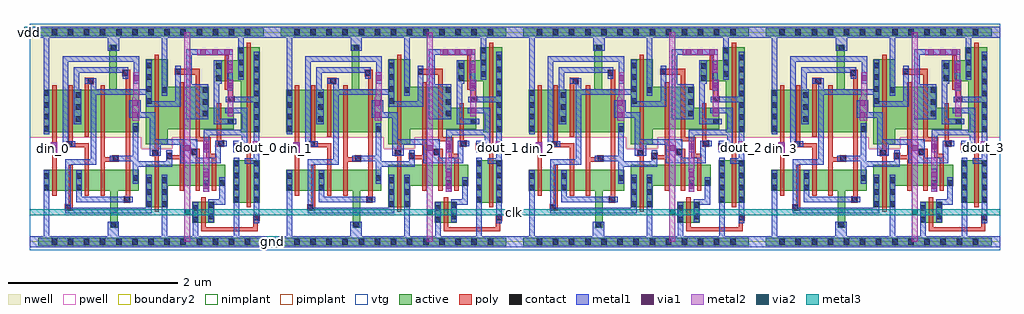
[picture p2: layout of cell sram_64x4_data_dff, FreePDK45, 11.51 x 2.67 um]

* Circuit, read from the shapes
.subckt sram_64x4_data_dff clk din_0 din_1 din_2 din_3 dout_0 dout_1 dout_2 dout_3 gnd vdd
M1 n1 din_0 gnd gnd nfet w=0.25u l=0.05u
M2 n2 n3 n1 gnd nfet w=0.25u l=0.05u
M3 n4 clk n2 gnd nfet w=0.25u l=0.05u
M4 gnd n5 n4 gnd nfet w=0.25u l=0.05u
M5 n5 n2 gnd gnd nfet w=0.25u l=0.05u
M6 gnd clk n3 gnd nfet w=0.5u l=0.05u
M7 n6 n5 gnd gnd nfet w=0.25u l=0.05u
M8 n7 clk n6 gnd nfet w=0.25u l=0.05u
M9 n8 dout_0 gnd gnd nfet w=0.25u l=0.05u
M10 n8 n3 n7 gnd nfet w=0.25u l=0.05u
M11 dout_0 n7 gnd gnd nfet w=0.5u l=0.05u
M12 n9 din_1 gnd gnd nfet w=0.25u l=0.05u
M13 n10 n11 n9 gnd nfet w=0.25u l=0.05u
M14 n12 clk n10 gnd nfet w=0.25u l=0.05u
M15 gnd n13 n12 gnd nfet w=0.25u l=0.05u
M16 n13 n10 gnd gnd nfet w=0.25u l=0.05u
M17 gnd clk n11 gnd nfet w=0.5u l=0.05u
M18 n14 n13 gnd gnd nfet w=0.25u l=0.05u
M19 n15 clk n14 gnd nfet w=0.25u l=0.05u
M20 n16 dout_1 gnd gnd nfet w=0.25u l=0.05u
M21 n16 n11 n15 gnd nfet w=0.25u l=0.05u
M22 dout_1 n15 gnd gnd nfet w=0.5u l=0.05u
M23 n17 din_2 gnd gnd nfet w=0.25u l=0.05u
M24 n18 n19 n17 gnd nfet w=0.25u l=0.05u
M25 n20 clk n18 gnd nfet w=0.25u l=0.05u
M26 gnd n21 n20 gnd nfet w=0.25u l=0.05u
M27 n21 n18 gnd gnd nfet w=0.25u l=0.05u
M28 gnd clk n19 gnd nfet w=0.5u l=0.05u
M29 n22 n21 gnd gnd nfet w=0.25u l=0.05u
M30 n23 clk n22 gnd nfet w=0.25u l=0.05u
M31 n24 dout_2 gnd gnd nfet w=0.25u l=0.05u
M32 n24 n19 n23 gnd nfet w=0.25u l=0.05u
M33 dout_2 n23 gnd gnd nfet w=0.5u l=0.05u
M34 n25 din_3 gnd gnd nfet w=0.25u l=0.05u
M35 n26 n27 n25 gnd nfet w=0.25u l=0.05u
M36 n28 clk n26 gnd nfet w=0.25u l=0.05u
M37 gnd n29 n28 gnd nfet w=0.25u l=0.05u
M38 n29 n26 gnd gnd nfet w=0.25u l=0.05u
M39 gnd clk n27 gnd nfet w=0.5u l=0.05u
M40 n30 n29 gnd gnd nfet w=0.25u l=0.05u
M41 n31 clk n30 gnd nfet w=0.25u l=0.05u
M42 n32 dout_3 gnd gnd nfet w=0.25u l=0.05u
M43 n32 n27 n31 gnd nfet w=0.25u l=0.05u
M44 dout_3 n31 gnd gnd nfet w=0.5u l=0.05u
M45 n33 din_0 vdd vdd pfet w=0.5u l=0.05u
M46 n2 clk n33 vdd pfet w=0.5u l=0.05u
M47 n34 n3 n2 vdd pfet w=0.5u l=0.05u
M48 vdd n5 n34 vdd pfet w=0.5u l=0.05u
M49 n5 n2 vdd vdd pfet w=0.5u l=0.05u
M50 vdd clk n3 vdd pfet w=1u l=0.05u
M51 n35 n5 vdd vdd pfet w=0.5u l=0.05u
M52 n7 n3 n35 vdd pfet w=0.5u l=0.05u
M53 n36 clk n7 vdd pfet w=0.25u l=0.05u
M54 vdd dout_0 n36 vdd pfet w=0.25u l=0.05u
M55 dout_0 n7 vdd vdd pfet w=1u l=0.05u
M56 n37 din_1 vdd vdd pfet w=0.5u l=0.05u
M57 n10 clk n37 vdd pfet w=0.5u l=0.05u
M58 n38 n11 n10 vdd pfet w=0.5u l=0.05u
M59 vdd n13 n38 vdd pfet w=0.5u l=0.05u
M60 n13 n10 vdd vdd pfet w=0.5u l=0.05u
M61 vdd clk n11 vdd pfet w=1u l=0.05u
M62 n39 n13 vdd vdd pfet w=0.5u l=0.05u
M63 n15 n11 n39 vdd pfet w=0.5u l=0.05u
M64 n40 clk n15 vdd pfet w=0.25u l=0.05u
M65 vdd dout_1 n40 vdd pfet w=0.25u l=0.05u
M66 dout_1 n15 vdd vdd pfet w=1u l=0.05u
M67 n41 din_2 vdd vdd pfet w=0.5u l=0.05u
M68 n18 clk n41 vdd pfet w=0.5u l=0.05u
M69 n42 n19 n18 vdd pfet w=0.5u l=0.05u
M70 vdd n21 n42 vdd pfet w=0.5u l=0.05u
M71 n21 n18 vdd vdd pfet w=0.5u l=0.05u
M72 vdd clk n19 vdd pfet w=1u l=0.05u
M73 n43 n21 vdd vdd pfet w=0.5u l=0.05u
M74 n23 n19 n43 vdd pfet w=0.5u l=0.05u
M75 n44 clk n23 vdd pfet w=0.25u l=0.05u
M76 vdd dout_2 n44 vdd pfet w=0.25u l=0.05u
M77 dout_2 n23 vdd vdd pfet w=1u l=0.05u
M78 n45 din_3 vdd vdd pfet w=0.5u l=0.05u
M79 n26 clk n45 vdd pfet w=0.5u l=0.05u
M80 n46 n27 n26 vdd pfet w=0.5u l=0.05u
M81 vdd n29 n46 vdd pfet w=0.5u l=0.05u
M82 n29 n26 vdd vdd pfet w=0.5u l=0.05u
M83 vdd clk n27 vdd pfet w=1u l=0.05u
M84 n47 n29 vdd vdd pfet w=0.5u l=0.05u
M85 n31 n27 n47 vdd pfet w=0.5u l=0.05u
M86 n48 clk n31 vdd pfet w=0.25u l=0.05u
M87 vdd dout_3 n48 vdd pfet w=0.25u l=0.05u
M88 dout_3 n31 vdd vdd pfet w=1u l=0.05u
.ends

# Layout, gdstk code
import gdstk
lib = gdstk.Library(unit=1e-6, precision=5e-10)
def R(c, l, rs):  # rectangles x0, y0, x1, y1
    for r in rs: c.add(gdstk.rectangle(r[:2], r[2:], *l))
def A(c, l, x, y, w, h, nx, ny, dx, dy):  # array of equal rectangles
    R(c, l, [(x+i*dx, y+j*dy, x+i*dx+w, y+j*dy+h) for i in range(nx) for j in range(ny)])
def P(c, l, *ps):  # polygons
    for p in ps: c.add(gdstk.Polygon(p, *l))
active = (1, 0)
pwell = (2, 0)
nwell = (3, 0)
nimplant = (4, 0)
pimplant = (5, 0)
vtg = (6, 0)
poly = (9, 0)
contact = (10, 0)
metal1 = (11, 0)
via1 = (12, 0)
metal2 = (13, 0)
via2 = (14, 0)
metal3 = (15, 0)
boundary2 = (239, 0)

dff = lib.new_cell('dff')
A(dff, active, 0.2675, 0.6, 0.05, 0.25, 4, 1, 0.19, 0)
A(dff, active, 0.3175, 0.6, 0.14, 0.25, 3, 1, 0.19, 0)
A(dff, active, 1.7675, 0.6575, 0.05, 0.25, 3, 1, 0.19, 0)
A(dff, active, 0.2675, 1.2925, 0.05, 0.5, 4, 1, 0.19, 0)
A(dff, active, 0.3175, 1.2925, 0.14, 0.5, 3, 1, 0.19, 0)
R(dff, active, [(0.1,-0.045,2.76,0.045), (1.9175,0.2225,2.0225,0.4725), (2.0225,0.2225,2.0725,0.4725), (2.0725,0.2225,2.1775,0.4725), (1.3675,0.4075,1.4725,0.9075), (1.4725,0.4075,1.5225,0.9075), (2.4025,0.4625,2.5575,0.9625), (2.5575,0.4625,2.6075,0.9625), (2.6075,0.4625,2.7125,0.9625), (0.1625,0.6,0.2675,0.85), (1.1325,0.6,1.1825,0.85), (1.1825,0.6,1.2875,0.85), (1.8175,0.6575,1.9575,0.9075), (2.0075,0.6575,2.1475,0.9075), (2.1975,0.6575,2.3075,0.9075), (1.3675,1.15,1.4725,2.15), (1.4725,1.15,1.5225,2.15), (0.1625,1.2925,0.2675,1.7925), (1.1325,1.2925,1.1825,1.7925), (1.1825,1.2925,1.2875,1.7925), (2.5575,1.2925,2.6075,2.2925), (2.6075,1.2925,2.7125,2.2925), (1.7675,1.3275,1.8175,1.8275), (1.8175,1.3275,1.9575,1.8275), (1.9575,1.3275,2.0075,1.8275), (2.2075,1.3275,2.2575,1.5775), (2.2575,1.3275,2.4075,1.5775), (2.1925,1.8925,2.2975,2.1425), (2.2975,1.8925,2.3475,2.1425), (0.1,2.425,2.76,2.515)])
P(dff, active, [(0.8875,1.2925),(0.8875,1.7925),(0.9375,1.7925),(0.9375,2.3225),(1.0275,2.3225),(1.0275,1.7925),(1.1325,1.7925),(1.1325,1.2925)],
  [(1.5225,1.15),(1.5225,2.15),(1.6275,2.15),(1.6275,1.8275),(1.7675,1.8275),(1.7675,1.3275),(1.6275,1.3275),(1.6275,1.15)],
  [(2.0075,1.3275),(2.0075,1.8275),(2.1125,1.8275),(2.1125,1.5775),(2.2075,1.5775),(2.2075,1.3275)],
  [(2.4875,1.2925),(2.4875,1.8925),(2.3475,1.8925),(2.3475,2.1425),(2.4525,2.1425),(2.4525,2.2925),(2.5575,2.2925),(2.5575,1.2925)],
  [(0.9475,0.165),(0.9475,0.6),(0.8875,0.6),(0.8875,0.85),(1.1325,0.85),(1.1325,0.6),(1.0375,0.6),(1.0375,0.165)],
  [(1.5225,0.4075),(1.5225,0.9075),(1.7675,0.9075),(1.7675,0.6575),(1.6275,0.6575),(1.6275,0.4075)])
P(dff, pwell, [(0,-0.1),(0,1.235),(1.3125,1.235),(1.3125,1.095),(1.6825,1.095),(1.6825,1.235),(2.86,1.235),(2.86,-0.1)])
P(dff, nwell, [(1.3125,1.095),(1.3125,1.235),(0,1.235),(0,2.57),(2.86,2.57),(2.86,1.235),(1.6825,1.235),(1.6825,1.095)])
A(dff, nimplant, 0.2675, 0.6, 0.05, 0.25, 4, 1, 0.19, 0)
A(dff, nimplant, 0.3175, 0.6, 0.14, 0.25, 3, 1, 0.19, 0)
A(dff, nimplant, 1.7675, 0.6575, 0.05, 0.25, 3, 1, 0.19, 0)
R(dff, nimplant, [(1.9175,0.2225,2.0225,0.4725), (2.0225,0.2225,2.0725,0.4725), (2.0725,0.2225,2.1775,0.4725), (1.3675,0.4075,1.4725,0.9075), (1.4725,0.4075,1.5225,0.9075), (2.4025,0.4625,2.5575,0.9625), (2.5575,0.4625,2.6075,0.9625), (2.6075,0.4625,2.7125,0.9625), (0.1625,0.6,0.2675,0.85), (1.1325,0.6,1.1825,0.85), (1.1825,0.6,1.2875,0.85), (1.8175,0.6575,1.9575,0.9075), (2.0075,0.6575,2.1475,0.9075), (2.1975,0.6575,2.3075,0.9075), (0.1,2.425,2.76,2.515)])
P(dff, nimplant, [(0.9475,0.165),(0.9475,0.6),(0.8875,0.6),(0.8875,0.85),(1.1325,0.85),(1.1325,0.6),(1.0375,0.6),(1.0375,0.165)],
  [(1.5225,0.4075),(1.5225,0.9075),(1.7675,0.9075),(1.7675,0.6575),(1.6275,0.6575),(1.6275,0.4075)])
A(dff, pimplant, 0.2675, 1.2925, 0.05, 0.5, 4, 1, 0.19, 0)
A(dff, pimplant, 0.3175, 1.2925, 0.14, 0.5, 3, 1, 0.19, 0)
R(dff, pimplant, [(0.1,-0.045,2.76,0.045), (1.3675,1.15,1.4725,2.15), (1.4725,1.15,1.5225,2.15), (0.1625,1.2925,0.2675,1.7925), (1.1325,1.2925,1.1825,1.7925), (1.1825,1.2925,1.2875,1.7925), (2.5575,1.2925,2.6075,2.2925), (2.6075,1.2925,2.7125,2.2925), (1.7675,1.3275,1.8175,1.8275), (1.8175,1.3275,1.9575,1.8275), (1.9575,1.3275,2.0075,1.8275), (2.2075,1.3275,2.2575,1.5775), (2.2575,1.3275,2.4075,1.5775), (2.1925,1.8925,2.2975,2.1425), (2.2975,1.8925,2.3475,2.1425)])
P(dff, pimplant, [(0.8875,1.2925),(0.8875,1.7925),(0.9375,1.7925),(0.9375,2.3225),(1.0275,2.3225),(1.0275,1.7925),(1.1325,1.7925),(1.1325,1.2925)],
  [(1.5225,1.15),(1.5225,2.15),(1.6275,2.15),(1.6275,1.8275),(1.7675,1.8275),(1.7675,1.3275),(1.6275,1.3275),(1.6275,1.15)],
  [(2.0075,1.3275),(2.0075,1.8275),(2.1125,1.8275),(2.1125,1.5775),(2.2075,1.5775),(2.2075,1.3275)],
  [(2.4875,1.2925),(2.4875,1.8925),(2.3475,1.8925),(2.3475,2.1425),(2.4525,2.1425),(2.4525,2.2925),(2.5575,2.2925),(2.5575,1.2925)])
R(dff, vtg, [(0,-0.1,2.86,2.57)])
A(dff, poly, 0.2675, 0.6, 0.05, 0.25, 4, 1, 0.19, 0)
A(dff, poly, 1.7675, 0.6025, 0.05, 0.055, 3, 1, 0.19, 0)
A(dff, poly, 1.7675, 0.6575, 0.05, 0.25, 3, 1, 0.19, 0)
A(dff, poly, 0.2675, 1.2925, 0.05, 0.5, 4, 1, 0.19, 0)
R(dff, poly, [(2.0225,0.2225,2.0725,0.4725), (1.4725,0.3525,1.5225,0.4075), (1.4725,0.4075,1.5225,0.9075), (2.5575,0.4075,2.6075,0.4625), (2.5575,0.4625,2.6075,0.9625), (2.0225,0.4725,2.0725,0.5275), (0.2675,0.545,0.3175,0.6), (0.6475,0.545,0.6975,0.6), (0.8375,0.545,0.8875,0.6), (1.1325,0.6,1.1825,0.85), (0.4575,0.85,0.5075,0.905), (1.1325,0.85,1.1825,1.2925), (1.4725,1.15,1.5225,2.15), (0.6475,1.2375,0.6975,1.2925), (1.1325,1.2925,1.1825,1.7925), (2.5575,1.2925,2.6075,2.2925), (1.7675,1.3275,1.8175,1.8275), (1.9575,1.3275,2.0075,1.8275), (2.2075,1.3275,2.2575,1.5775), (2.2075,1.5775,2.2575,1.6325), (0.2675,1.7925,0.3175,1.8475), (0.4575,1.7925,0.5075,1.8475), (0.8375,1.7925,0.8875,1.8475), (1.7675,1.8275,1.8175,1.8825), (2.2975,1.8925,2.3475,2.1425), (2.2975,2.1425,2.3475,2.1975), (1.4725,2.15,1.5225,2.205), (2.5575,2.2925,2.6075,2.3475)])
P(dff, poly, [(0.2675,0.85),(0.2675,1.0675),(0.2425,1.0675),(0.2425,1.1425),(0.2675,1.1425),(0.2675,1.2925),(0.3175,1.2925),(0.3175,0.85)],
  [(0.4125,0.365),(0.4125,0.44),(0.4575,0.44),(0.4575,0.6),(0.5075,0.6),(0.5075,0.365)],
  [(0.6475,1.7925),(0.6475,1.9325),(0.7525,1.9325),(0.7525,1.8575),(0.6975,1.8575),(0.6975,1.7925)],
  [(0.6475,0.85),(0.6475,1.1125),(0.4325,1.1125),(0.4325,1.1875),(0.4575,1.1875),(0.4575,1.2925),(0.5075,1.2925),(0.5075,1.1625),(0.6975,1.1625),(0.6975,0.85)],
  [(0.8375,0.85),(0.8375,1.2925),(0.8875,1.2925),(0.8875,0.995),(0.9725,0.995),(0.9725,1.02),(1.0475,1.02),(1.0475,0.945),(0.8875,0.945),(0.8875,0.85)],
  [(1.1325,1.7925),(1.1325,1.9525),(1.0925,1.9525),(1.0925,2.0275),(1.1825,2.0275),(1.1825,1.7925)],
  [(1.1075,0.46),(1.1075,0.535),(1.1325,0.535),(1.1325,0.6),(1.1825,0.6),(1.1825,0.46)],
  [(1.4725,0.9075),(1.4725,1.01),(1.4425,1.01),(1.4425,1.085),(1.4725,1.085),(1.4725,1.15),(1.5225,1.15),(1.5225,0.9075)],
  [(1.7675,0.9075),(1.7675,0.9725),(1.6075,0.9725),(1.6075,1.0475),(1.6825,1.0475),(1.6825,1.0225),(1.7675,1.0225),(1.7675,1.3275),(1.8175,1.3275),(1.8175,0.9075)],
  [(1.9575,1.8275),(1.9575,1.9675),(1.7125,1.9675),(1.7125,2.0425),(2.0075,2.0425),(2.0075,1.8275)],
  [(1.9575,0.9075),(1.9575,1.0225),(1.9025,1.0225),(1.9025,1.0975),(2.0075,1.0975),(2.0075,0.9075)],
  [(2.3425,1.6425),(2.3425,1.7925),(2.2975,1.7925),(2.2975,1.8925),(2.3475,1.8925),(2.3475,1.8425),(2.3925,1.8425),(2.3925,1.7175),(2.4175,1.7175),(2.4175,1.6425)],
  [(2.2075,1.1225),(2.2075,1.3275),(2.2575,1.3275),(2.2575,1.1975),(2.2925,1.1975),(2.2925,1.1225)],
  [(2.0225,0.1225),(2.0225,0.2225),(2.0725,0.2225),(2.0725,0.1725),(2.6375,0.1725),(2.6375,0.3225),(2.7125,0.3225),(2.7125,0.2475),(2.6875,0.2475),(2.6875,0.1225)],
  [(2.1475,0.9075),(2.1475,0.9875),(2.0825,0.9875),(2.0825,1.1825),(1.9575,1.1825),(1.9575,1.3275),(2.0075,1.3275),(2.0075,1.2325),(2.1325,1.2325),(2.1325,1.0375),(2.1975,1.0375),(2.1975,0.9075)],
  [(2.5575,0.9625),(2.5575,1.0875),(2.3975,1.0875),(2.3975,1.1625),(2.4725,1.1625),(2.4725,1.1375),(2.5575,1.1375),(2.5575,1.2925),(2.6075,1.2925),(2.6075,0.9625)])
A(dff, contact, 0.2575, -0.0325, 0.065, 0.065, 13, 2, 0.19, 2.47)
A(dff, contact, 1.3725, 0.4125, 0.065, 0.065, 1, 3, 0, 0.14)
A(dff, contact, 1.5575, 0.4125, 0.065, 0.065, 1, 3, 0, 0.14)
A(dff, contact, 2.4075, 0.4675, 0.065, 0.065, 1, 4, 0, 0.14)
A(dff, contact, 2.6425, 0.4675, 0.065, 0.065, 1, 4, 0, 0.14)
A(dff, contact, 2.6425, 1.2975, 0.065, 0.065, 1, 7, 0, 0.14)
A(dff, contact, 0.1675, 1.3025, 0.065, 0.065, 1, 4, 0, 0.14)
A(dff, contact, 0.5425, 1.4175, 0.065, 0.065, 1, 3, 0, 0.14)
A(dff, contact, 2.0425, 1.4775, 0.065, 0.065, 1, 3, 0, 0.14)
A(dff, contact, 1.3725, 1.6275, 0.065, 0.065, 1, 4, 0, 0.14)
A(dff, contact, 2.4575, 1.9425, 0.065, 0.065, 1, 3, 0, 0.14)
R(dff, contact, [(0.9525,0.17,1.0175,0.235), (1.9225,0.2275,1.9875,0.2925), (2.6425,0.2525,2.7075,0.3175), (2.1075,0.2625,2.1725,0.3275), (1.9225,0.3675,1.9875,0.4325), (0.4175,0.37,0.4825,0.435), (2.1075,0.4025,2.1725,0.4675), (1.1125,0.465,1.1775,0.53), (0.1675,0.605,0.2325,0.67), (0.5475,0.605,0.6125,0.67), (2.0475,0.6625,2.1125,0.7275), (2.2375,0.6625,2.3025,0.7275), (1.2175,0.72,1.2825,0.785), (0.1675,0.745,0.2325,0.81), (0.5475,0.745,0.6125,0.81), (0.9775,0.95,1.0425,1.015), (1.6125,0.9775,1.6775,1.0425), (1.4475,1.015,1.5125,1.08), (1.9075,1.0275,1.9725,1.0925), (0.2475,1.0725,0.3125,1.1375), (2.4025,1.0925,2.4675,1.1575), (0.4375,1.1175,0.5025,1.1825), (2.2225,1.1275,2.2875,1.1925), (1.2175,1.2975,1.2825,1.3625), (2.3375,1.3875,2.4025,1.4525), (2.3475,1.6475,2.4125,1.7125), (1.5575,1.7575,1.6225,1.8225), (0.6825,1.8625,0.7475,1.9275), (2.1975,1.8975,2.2625,1.9625), (1.0975,1.9575,1.1625,2.0225), (1.7175,1.9725,1.7825,2.0375), (2.1975,2.0375,2.2625,2.1025), (0.9575,2.2525,1.0225,2.3175)])
R(dff, metal1, [(0,-0.065,2.86,0.065), (0,-0.065,2.86,0.065), (2.0475,0.5875,2.1125,0.8625), (2.6425,0.915,2.7075,1.1275), (1.7775,0.9275,1.9725,1.2075), (0.245,1.0375,0.3225,1.1725), (2.6325,1.0475,2.71,1.1825), (2.3275,1.7775,2.3925,2.1275), (0,2.405,2.76,2.535), (0,2.405,2.76,2.535)])
P(dff, metal1, [(0.1675,1.2675),(0.1675,2.405),(0.1,2.405),(0.1,2.535),(2.86,2.535),(2.86,2.405),(2.5225,2.405),(2.5225,1.9075),(2.4575,1.9075),(2.4575,2.405),(1.6225,2.405),(1.6225,1.7225),(1.5575,1.7225),(1.5575,2.405),(1.0575,2.405),(1.0575,2.2525),(0.9225,2.2525),(0.9225,2.405),(0.2325,2.405),(0.2325,1.2675)],
  [(0.1,-0.065),(0.1,0.065),(0.1675,0.065),(0.1675,0.845),(0.2325,0.845),(0.2325,0.065),(0.9175,0.065),(0.9175,0.235),(1.0525,0.235),(1.0525,0.065),(1.5575,0.065),(1.5575,0.7925),(1.6225,0.7925),(1.6225,0.065),(1.9225,0.065),(1.9225,0.4675),(1.9875,0.4675),(1.9875,0.065),(2.4075,0.065),(2.4075,0.9875),(2.4725,0.9875),(2.4725,0.065),(2.76,0.065),(2.76,-0.065)],
  [(0.4175,0.335),(0.4175,0.975),(0.7175,0.975),(0.7175,1.8625),(0.6475,1.8625),(0.6475,1.9275),(0.7825,1.9275),(0.7825,1.7975),(1.3725,1.7975),(1.3725,2.1475),(1.4375,2.1475),(1.4375,1.6575),(1.7175,1.6575),(1.7175,2.0725),(1.7825,2.0725),(1.7825,1.5925),(1.3725,1.5925),(1.3725,1.7325),(0.7825,1.7325),(0.7825,0.91),(0.4825,0.91),(0.4825,0.4),(1.3725,0.4),(1.3725,0.7925),(1.4375,0.7925),(1.4375,0.335)],
  [(1.7775,0.9275),(1.7775,1.1425),(1.5475,1.1425),(1.5475,1.015),(1.4125,1.015),(1.4125,1.4625),(1.1725,1.4625),(1.1725,1.6675),(1.3075,1.6675),(1.3075,1.5275),(1.4775,1.5275),(1.4775,1.2075),(1.9725,1.2075),(1.9725,0.9925),(2.1875,0.9925),(2.1875,1.1925),(2.3225,1.1925),(2.3225,1.1275),(2.2525,1.1275),(2.2525,0.9275)],
  [(0.3875,1.1175),(0.3875,2.1875),(1.2925,2.1875),(1.2925,1.8625),(1.2275,1.8625),(1.2275,2.1225),(0.4525,2.1225),(0.4525,1.1825),(0.5375,1.1825),(0.5375,1.1175)],
  [(0.5175,1.3825),(0.5175,2.0575),(1.1625,2.0575),(1.1625,1.9225),(1.0975,1.9225),(1.0975,1.9925),(0.5825,1.9925),(0.5825,1.7975),(0.6075,1.7975),(0.6075,1.3825)],
  [(0.5475,0.465),(0.5475,0.845),(0.6125,0.845),(0.6125,0.53),(1.2125,0.53),(1.2125,0.465)],
  [(1.2175,0.685),(1.2175,0.95),(0.9425,0.95),(0.9425,1.015),(1.2175,1.015),(1.2175,1.3975),(1.2825,1.3975),(1.2825,0.95),(1.6125,0.95),(1.6125,1.0775),(1.6775,1.0775),(1.6775,0.885),(1.2825,0.885),(1.2825,0.685)],
  [(1.8475,1.4425),(1.8475,2.2675),(2.3925,2.2675),(2.3925,2.2025),(1.9125,2.2025),(1.9125,1.8575),(2.1075,1.8575),(2.1075,1.4425)],
  [(2.0525,1.0575),(2.0525,1.3225),(2.5025,1.3225),(2.5025,1.5175),(2.3025,1.5175),(2.3025,1.5825),(2.5675,1.5825),(2.5675,1.0575),(2.4025,1.0575),(2.4025,1.1925),(2.5025,1.1925),(2.5025,1.2575),(2.1175,1.2575),(2.1175,1.0575)],
  [(2.1725,1.3875),(2.1725,2.1375),(2.2625,2.1375),(2.2625,1.8625),(2.2375,1.8625),(2.2375,1.4525),(2.4375,1.4525),(2.4375,1.3875)],
  [(2.6425,0.2175),(2.6425,0.9175),(2.5375,0.9175),(2.5375,0.9825),(2.6425,0.9825),(2.6425,1.6475),(2.3125,1.6475),(2.3125,1.7125),(2.6425,1.7125),(2.6425,2.2375),(2.7075,2.2375),(2.7075,0.2175)],
  [(2.1075,0.2275),(2.1075,0.5025),(2.2375,0.5025),(2.2375,0.7625),(2.3025,0.7625),(2.3025,0.4375),(2.1725,0.4375),(2.1725,0.2275)])
A(dff, via1, 2.0125, 2.2025, 0.065, 0.065, 3, 1, 0.14, 0)
R(dff, via1, [(2.0475,0.6225,2.1125,0.6875), (2.0475,0.7625,2.1125,0.8275), (0.2475,1.0725,0.3125,1.1375), (1.825,1.0725,1.89,1.1375), (2.64,1.0825,2.705,1.1475), (2.0525,1.0925,2.1175,1.1575), (1.2075,1.4625,1.2725,1.5275), (2.3375,1.5175,2.4025,1.5825), (1.2075,1.6025,1.2725,1.6675), (2.3275,1.8125,2.3925,1.8775), (1.2275,1.8975,1.2925,1.9625), (2.3275,2.0275,2.3925,2.0925)])
R(dff, metal2, [(2.0475,0.5875,2.1175,1.1925), (0.245,1.0375,0.3225,1.1725), (0.245,1.0375,0.3225,1.1725), (1.82,1.0375,1.8975,1.1725), (1.82,1.0375,1.8975,1.1725), (2.6325,1.0475,2.71,1.1825), (2.6325,1.0475,2.71,1.1825)])
P(dff, metal2, [(1.2075,1.4275),(1.2075,1.7025),(1.2225,1.7025),(1.2225,1.9975),(1.2925,1.9975),(1.2925,1.4275)],
  [(2.3225,1.9925),(2.3225,2.1975),(1.9775,2.1975),(1.9775,2.2675),(2.3925,2.2675),(2.3925,1.9925)],
  [(2.3325,1.4825),(2.3325,1.7775),(2.3275,1.7775),(2.3275,1.9125),(2.4025,1.9125),(2.4025,1.4825)])
R(dff, boundary2, [(0,0,2.86,2.47)])
dff.add(gdstk.Label('clk', (1.865,1.15), layer=13, texttype=0))
dff.add(gdstk.Label('D', (0.295,1.15), layer=13, texttype=0))
dff.add(gdstk.Label('Q', (2.685,1.1), layer=13, texttype=0))
dff.add(gdstk.Label('gnd', (1.645,0.0425), layer=11, texttype=0))
dff.add(gdstk.Label('vdd', (2.035,2.5325), layer=11, texttype=0))
dff.add(gdstk.Label('D', (0.284,1.105), layer=13, texttype=0))
dff.add(gdstk.Label('Q', (2.671,1.115), layer=13, texttype=0))
dff.add(gdstk.Label('clk', (1.859,1.105), layer=13, texttype=0))
dff.add(gdstk.Label('vdd', (1.38,2.47), layer=11, texttype=0))
dff.add(gdstk.Label('gnd', (1.43,0), layer=11, texttype=0))

sram_64x4_contact_17 = lib.new_cell('sram_64x4_contact_17')
R(sram_64x4_contact_17, metal1, [(0,0.035,0.135,0.1)])
R(sram_64x4_contact_17, via1, [(0.035,0.035,0.1,0.1)])
R(sram_64x4_contact_17, metal2, [(0.0325,0,0.1025,0.135)])
R(sram_64x4_contact_17, boundary2, [(0,0,0.135,0.135)])

sram_64x4_contact_18 = lib.new_cell('sram_64x4_contact_18')
R(sram_64x4_contact_18, metal2, [(0.0325,0,0.1025,0.135)])
R(sram_64x4_contact_18, via2, [(0.035,0.035,0.1,0.1)])
R(sram_64x4_contact_18, metal3, [(0,0.0325,0.135,0.1025)])
R(sram_64x4_contact_18, boundary2, [(0,0,0.135,0.135)])

sram_64x4_data_dff = lib.new_cell('sram_64x4_data_dff')
A(sram_64x4_data_dff, metal2, 1.82, 0, 0.07, 2.47, 4, 1, 2.86, 0)
A(sram_64x4_data_dff, metal2, 0.245, 1.0375, 0.0775, 0.135, 4, 1, 2.86, 0)
A(sram_64x4_data_dff, metal2, 2.6325, 1.0475, 0.0775, 0.135, 4, 1, 2.86, 0)
R(sram_64x4_data_dff, metal3, [(2.7925,-0.0675,2.9275,0.0675), (0,0.315,11.44,0.385), (-0.0675,2.4025,0.0675,2.5375)])
R(sram_64x4_data_dff, boundary2, [(0,0,11.44,2.47)])
sram_64x4_data_dff.add(gdstk.Reference(dff, (0,0)))
sram_64x4_data_dff.add(gdstk.Reference(dff, (2.86,0)))
sram_64x4_data_dff.add(gdstk.Reference(dff, (5.72,0)))
sram_64x4_data_dff.add(gdstk.Reference(dff, (8.58,0)))
sram_64x4_data_dff.add(gdstk.Reference(sram_64x4_contact_17, (-0.0675,2.4025)))
sram_64x4_data_dff.add(gdstk.Reference(sram_64x4_contact_18, (-0.0675,2.4025)))
sram_64x4_data_dff.add(gdstk.Reference(sram_64x4_contact_17, (2.7925,-0.0675)))
sram_64x4_data_dff.add(gdstk.Reference(sram_64x4_contact_18, (2.7925,-0.0675)))
sram_64x4_data_dff.add(gdstk.Reference(sram_64x4_contact_18, (1.79,0.2825)))
sram_64x4_data_dff.add(gdstk.Reference(sram_64x4_contact_18, (4.65,0.2825)))
sram_64x4_data_dff.add(gdstk.Reference(sram_64x4_contact_18, (7.51,0.2825)))
sram_64x4_data_dff.add(gdstk.Reference(sram_64x4_contact_18, (10.37,0.2825)))
sram_64x4_data_dff.add(gdstk.Label('vdd', (0,2.47), layer=15, texttype=0))
sram_64x4_data_dff.add(gdstk.Label('gnd', (2.86,0), layer=15, texttype=0))
sram_64x4_data_dff.add(gdstk.Label('din_0', (0.284,1.105), layer=13, texttype=0))
sram_64x4_data_dff.add(gdstk.Label('dout_0', (2.671,1.115), layer=13, texttype=0))
sram_64x4_data_dff.add(gdstk.Label('din_1', (3.144,1.105), layer=13, texttype=0))
sram_64x4_data_dff.add(gdstk.Label('dout_1', (5.531,1.115), layer=13, texttype=0))
sram_64x4_data_dff.add(gdstk.Label('din_2', (6.004,1.105), layer=13, texttype=0))
sram_64x4_data_dff.add(gdstk.Label('dout_2', (8.391,1.115), layer=13, texttype=0))
sram_64x4_data_dff.add(gdstk.Label('din_3', (8.864,1.105), layer=13, texttype=0))
sram_64x4_data_dff.add(gdstk.Label('dout_3', (11.251,1.115), layer=13, texttype=0))
sram_64x4_data_dff.add(gdstk.Label('clk', (5.72,0.35), layer=15, texttype=0))

lib.write_gds('sram_64x4_data_dff.gds')
